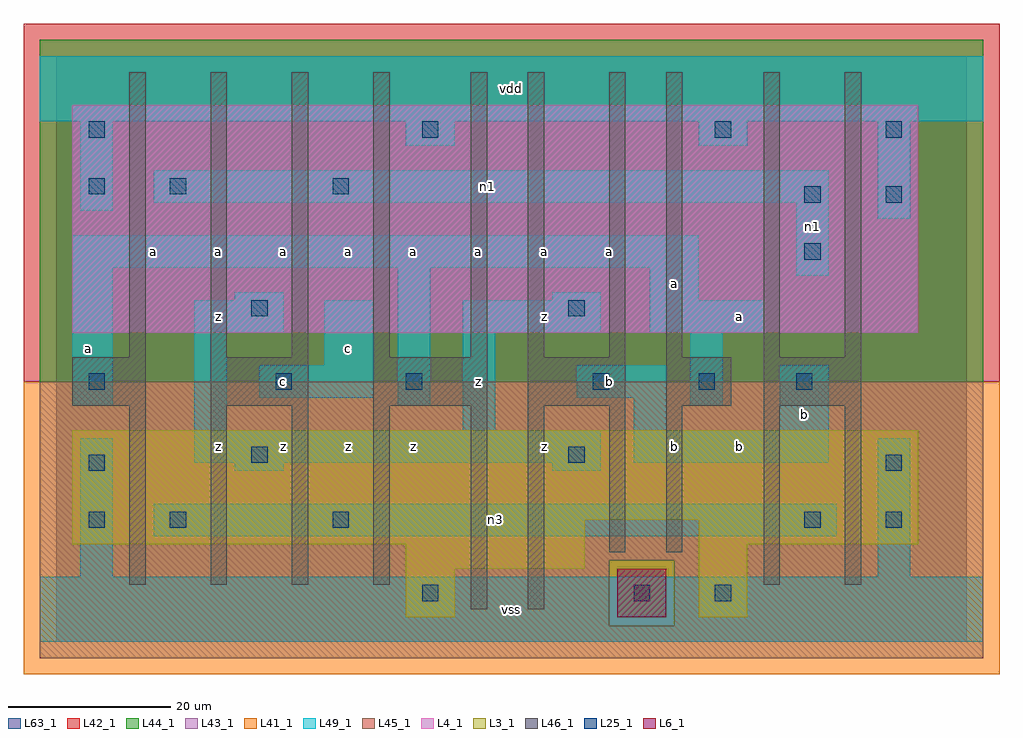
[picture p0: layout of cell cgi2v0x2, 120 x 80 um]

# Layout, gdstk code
import gdstk
lib = gdstk.Library(unit=1e-6, precision=1e-09)
def R(c, l, rs):  # rectangles x0, y0, x1, y1
    for r in rs: c.add(gdstk.rectangle(r[:2], r[2:], *l))
def A(c, l, x, y, w, h, nx, ny, dx, dy):  # array of equal rectangles
    R(c, l, [(x+i*dx, y+j*dy, x+i*dx+w, y+j*dy+h) for i in range(nx) for j in range(ny)])
L3_1 = (3, 1)
L4_1 = (4, 1)
L6_1 = (6, 1)
L25_1 = (25, 1)
L41_1 = (41, 1)
L42_1 = (42, 1)
L43_1 = (43, 1)
L44_1 = (44, 1)
L45_1 = (45, 1)
L46_1 = (46, 1)
L49_1 = (49, 1)
L63_1 = (63, 1)

cgi2v0x2 = lib.new_cell('cgi2v0x2')
R(cgi2v0x2, L3_1, [(43,3,49,9), (79,3,85,12), (43,9,65,12), (2,12,65,15), (79,12,106,15), (2,15,106,26)])
R(cgi2v0x2, L4_1, [(2,38,106,66)])
R(cgi2v0x2, L6_1, [(69,3,75,9), (69,3,75,9)])
R(cgi2v0x2, L25_1, [(45,5,47,7), (71,5,73,7), (81,5,83,7), (4,14,6,16), (14,14,16,16), (34,14,36,16), (92,14,94,16), (102,14,104,16), (4,21,6,23), (102,21,104,23), (24,22,26,24), (63,22,65,24), (4,31,6,33), (27,31,29,33), (43,31,45,33), (66,31,68,33), (79,31,81,33), (91,31,93,33), (24,40,26,42), (63,40,65,42), (92,47,94,49), (92,54,94,56), (102,54,104,56), (4,55,6,57), (14,55,16,57), (34,55,36,57), (4,62,6,64), (45,62,47,64), (81,62,83,64), (102,62,104,64)])
R(cgi2v0x2, L41_1, [(-4,-4,116,32)])
R(cgi2v0x2, L42_1, [(-4,32,116,76)])
R(cgi2v0x2, L43_1, [(43,3,49,9), (69,3,75,9), (79,3,85,12), (43,9,65,12), (2,12,65,15), (79,12,106,15), (2,15,106,26), (2,38,106,66)])
R(cgi2v0x2, L44_1, [(68,2,76,10), (-2,32,114,74)])
R(cgi2v0x2, L45_1, [(-2,-2,114,2), (-2,2,68,10), (76,2,114,10), (-2,10,114,32)])
A(cgi2v0x2, L46_1, 9, 7, 2, 22, 4, 1, 10, 0)
A(cgi2v0x2, L46_1, 9, 35, 2, 35, 4, 1, 10, 0)
R(cgi2v0x2, L46_1, [(51,4,53,29), (58,4,60,29), (87,7,89,29), (97,7,99,29), (68,11,70,29), (75,11,77,29), (2,29,11,35), (19,29,31,35), (39,29,53,35), (58,29,70,35), (75,29,83,35), (87,29,99,35), (51,35,53,70), (58,35,60,70), (68,35,70,70), (75,35,77,70), (87,35,89,70), (97,35,99,70)])
R(cgi2v0x2, L49_1, [(-2,0,114,8), (3,8,7,25), (101,8,105,25), (12,13,96,17), (22,21,28,22), (61,21,67,22), (17,22,67,26), (71,22,95,26), (17,26,21,38), (50,26,54,38), (71,26,75,30), (89,26,95,34), (2,29,7,46), (42,29,46,46), (78,29,82,38), (25,30,39,34), (64,30,75,34), (33,34,39,42), (17,38,28,42), (50,38,67,42), (73,38,87,42), (22,42,28,43), (61,42,67,43), (73,42,79,46), (91,45,95,54), (2,46,79,50), (101,52,105,64), (3,53,7,64), (12,54,95,58), (43,61,49,64), (79,61,85,64), (-2,64,114,72)])
R(cgi2v0x2, L63_1, [(0,0,112,72)])
cgi2v0x2.add(gdstk.Label('a', (4,36), layer=49, texttype=1))
cgi2v0x2.add(gdstk.Label('a', (12,48), layer=49, texttype=1))
cgi2v0x2.add(gdstk.Label('z', (20,24), layer=49, texttype=1))
cgi2v0x2.add(gdstk.Label('z', (36,24), layer=49, texttype=1))
cgi2v0x2.add(gdstk.Label('z', (28,24), layer=49, texttype=1))
cgi2v0x2.add(gdstk.Label('c', (28,32), layer=49, texttype=1))
cgi2v0x2.add(gdstk.Label('z', (20,40), layer=49, texttype=1))
cgi2v0x2.add(gdstk.Label('c', (36,36), layer=49, texttype=1))
cgi2v0x2.add(gdstk.Label('a', (20,48), layer=49, texttype=1))
cgi2v0x2.add(gdstk.Label('a', (36,48), layer=49, texttype=1))
cgi2v0x2.add(gdstk.Label('a', (28,48), layer=49, texttype=1))
cgi2v0x2.add(gdstk.Label('vss', (56,4), layer=49, texttype=1))
cgi2v0x2.add(gdstk.Label('z', (44,24), layer=49, texttype=1))
cgi2v0x2.add(gdstk.Label('z', (60,24), layer=49, texttype=1))
cgi2v0x2.add(gdstk.Label('z', (52,32), layer=49, texttype=1))
cgi2v0x2.add(gdstk.Label('z', (60,40), layer=49, texttype=1))
cgi2v0x2.add(gdstk.Label('a', (44,48), layer=49, texttype=1))
cgi2v0x2.add(gdstk.Label('a', (60,48), layer=49, texttype=1))
cgi2v0x2.add(gdstk.Label('a', (52,48), layer=49, texttype=1))
cgi2v0x2.add(gdstk.Label('vdd', (56,68), layer=49, texttype=1))
cgi2v0x2.add(gdstk.Label('b', (84,24), layer=49, texttype=1))
cgi2v0x2.add(gdstk.Label('b', (76,24), layer=49, texttype=1))
cgi2v0x2.add(gdstk.Label('b', (68,32), layer=49, texttype=1))
cgi2v0x2.add(gdstk.Label('a', (84,40), layer=49, texttype=1))
cgi2v0x2.add(gdstk.Label('a', (76,44), layer=49, texttype=1))
cgi2v0x2.add(gdstk.Label('a', (68,48), layer=49, texttype=1))
cgi2v0x2.add(gdstk.Label('n3', (54,15), layer=49, texttype=1))
cgi2v0x2.add(gdstk.Label('b', (92,28), layer=49, texttype=1))
cgi2v0x2.add(gdstk.Label('n1', (93,51), layer=49, texttype=1))
cgi2v0x2.add(gdstk.Label('n1', (53,56), layer=49, texttype=1))

lib.write_gds('cgi2v0x2.gds')
